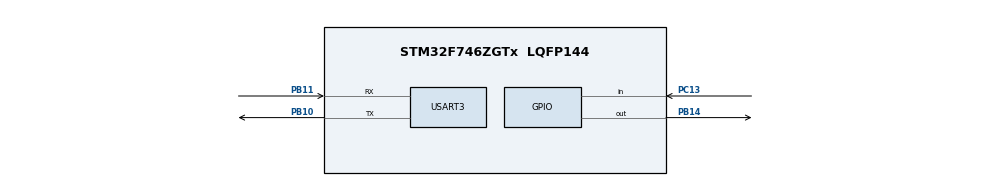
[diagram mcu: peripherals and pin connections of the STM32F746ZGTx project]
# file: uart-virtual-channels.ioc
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ADC1.Channel-0\#ChannelRegularConversion=ADC_CHANNEL_TEMPSENSOR
ADC1.NbrOfConversionFlag=1
ADC1.Rank-0\#ChannelRegularConversion=1
ADC1.SamplingTime-0\#ChannelRegularConversion=ADC_SAMPLETIME_3CYCLES
ADC1.master=1
CORTEX_M7.default_mode_Activation=1
Dma.Request0=USART3_RX
Dma.Request1=USART3_TX
Dma.USART3_RX.0.Direction=DMA_PERIPH_TO_MEMORY
Dma.USART3_RX.0.FIFOMode=DMA_FIFOMODE_DISABLE
Dma.USART3_RX.0.Instance=DMA1_Stream1
Dma.USART3_RX.0.MemDataAlignment=DMA_MDATAALIGN_BYTE
Dma.USART3_RX.0.MemInc=DMA_MINC_ENABLE
Dma.USART3_RX.0.Mode=DMA_CIRCULAR
Dma.USART3_RX.0.PeriphDataAlignment=DMA_PDATAALIGN_BYTE
Dma.USART3_RX.0.PeriphInc=DMA_PINC_DISABLE
Dma.USART3_RX.0.Priority=DMA_PRIORITY_LOW
Dma.USART3_TX.1.Direction=DMA_MEMORY_TO_PERIPH
Dma.USART3_TX.1.FIFOMode=DMA_FIFOMODE_DISABLE
Dma.USART3_TX.1.Instance=DMA1_Stream3
Dma.USART3_TX.1.MemDataAlignment=DMA_MDATAALIGN_BYTE
Dma.USART3_TX.1.MemInc=DMA_MINC_ENABLE
Dma.USART3_TX.1.Mode=DMA_NORMAL
Dma.USART3_TX.1.PeriphDataAlignment=DMA_PDATAALIGN_BYTE
Dma.USART3_TX.1.PeriphInc=DMA_PINC_DISABLE
Dma.USART3_TX.1.Priority=DMA_PRIORITY_LOW
Mcu.Family=STM32F7
Mcu.Name=STM32F746ZGTx
Mcu.Package=LQFP144
NVIC.DMA1_Stream1_IRQn=true\:0\:0\:false\:false\:true\:false\:true\:true
NVIC.DMA1_Stream3_IRQn=true\:0\:0\:false\:false\:true\:false\:true\:true
NVIC.PriorityGroup=NVIC_PRIORITYGROUP_4
NVIC.USART3_IRQn=true\:0\:0\:false\:false\:true\:true\:true\:true
PB10.Mode=Asynchronous
PB10.Signal=USART3_TX
PB11.Mode=Asynchronous
PB11.Signal=USART3_RX
PB14.Signal=GPIO_Output
PC13.Signal=GPIO_Input
ProjectManager.HeapSize=0x200
ProjectManager.StackSize=0x400
ProjectManager.TargetToolchain=STM32CubeIDE
RCC.HSE_VALUE=25000000
RCC.HSI_VALUE=16000000
RCC.LSE_VALUE=32768
RCC.USBFreq_Value=96000000
RCC.VCOOutputFreq_Value=192000000
USART3.VirtualMode-Asynchronous=VM_ASYNC
VP_ADC1_TempSens_Input.Mode=IN-TempSens
board=custom

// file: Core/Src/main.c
/* USER CODE BEGIN Header */
/**
  ******************************************************************************
  * @file           : main.c
  * @brief          : Main program body
  ******************************************************************************
  * @attention
  *
  * Copyright (c) 2026 STMicroelectronics.
  * All rights reserved.
  *
  * This software is licensed under terms that can be found in the LICENSE file
  * in the root directory of this software component.
  * If no LICENSE file comes with this software, it is provided AS-IS.
  *
  ******************************************************************************
  */
/* USER CODE END Header */
#include "main.h"

/* USER CODE BEGIN Includes */
#include <stdio.h>
#include <math.h>
#include <stdlib.h>

#include "uartvc_parser.h"
#include "uartvc_link.h"
#include "uartvc_scheduler.h"
/* USER CODE END Includes */

ADC_HandleTypeDef hadc1;

UART_HandleTypeDef huart3;
DMA_HandleTypeDef hdma_usart3_rx;
DMA_HandleTypeDef hdma_usart3_tx;

/* USER CODE BEGIN PV */
uartvc_parser_t mi_parser;
uint8_t rx_byte;

uint32_t elefante_bytes_restantes = 0;
uint8_t buffer_elefante[64];
uint32_t timer_elefante = 0;
/* USER CODE END PV */

void SystemClock_Config(void);
static void MPU_Config(void);
static void MX_GPIO_Init(void);
static void MX_DMA_Init(void);
static void MX_USART3_UART_Init(void);
static void MX_ADC1_Init(void);

/* USER CODE BEGIN 0 */
int _write(int file, char *ptr, int len)
{
	uartvc_enqueue_raw((uint8_t*)ptr, len);
	return len;
}

int __io_putchar(int ch)
{
    uartvc_enqueue_raw((uint8_t*)&ch, 1);
    return ch;
}

uint8_t rx_buffer[256];
uartvc_parser_t parser;

void data_callback(uint8_t ch, const uint8_t *payload, uint16_t len)
{
	// Aquí llega la información de otros dispositivos reensamblada por el Parser
}

void HAL_UARTEx_RxEventCallback(UART_HandleTypeDef *huart, uint16_t Size)
{
    if(huart == &huart3)
    {
        // Le pasamos todos los bytes recibidos de golpe al parser
        for(uint16_t i=0; i<Size; i++)
        {
            uartvc_parser_process_byte(&mi_parser, rx_buffer[i]);
        }

        // Volvemos a armar el DMA para que siga escuchando en segundo plano
        HAL_UARTEx_ReceiveToIdle_DMA(&huart3, rx_buffer, sizeof(rx_buffer));
    }
}
/* USER CODE END 0 */

int main(void)
{

  /* MPU Configuration--------------------------------------------------------*/
  MPU_Config();

  /* MCU Configuration--------------------------------------------------------*/

  /* Reset of all peripherals, Initializes the Flash interface and the Systick. */
  HAL_Init();

  /* Configure the system clock */
  SystemClock_Config();

  /* Initialize all configured peripherals */
  MX_GPIO_Init();
  MX_DMA_Init();
  MX_USART3_UART_Init();
  MX_ADC1_Init();
  /* USER CODE BEGIN 2 */
  uartvc_scheduler_init();
  uartvc_set_channel_burst(1, 1);
  uartvc_set_channel_burst(2, 3);
  uartvc_set_channel_burst(3, 4);
  uartvc_set_channel_burst(4, 1);

  uartvc_parser_init(&mi_parser, data_callback);

  HAL_UARTEx_ReceiveToIdle_DMA(&huart3, rx_buffer, sizeof(rx_buffer));

  /* USER CODE END 2 */

  /* Infinite loop */
  /* USER CODE BEGIN WHILE */

  printf("\r\n[STM32] SISTEMA DE TELEMETRIA INICIADO\r\n");

  while (1)
  {
	// Planificador de TX
	uartvc_scheduler_run();

	// Tick de mantenimiento del parser de RX
	uartvc_parser_tick(&mi_parser);

    /* USER CODE END WHILE */

  }
}

void SystemClock_Config(void)
{
  RCC_OscInitTypeDef RCC_OscInitStruct = {0};
  RCC_ClkInitTypeDef RCC_ClkInitStruct = {0};

  /** Configure the main internal regulator output voltage
  */
  __HAL_RCC_PWR_CLK_ENABLE();
  __HAL_PWR_VOLTAGESCALING_CONFIG(PWR_REGULATOR_VOLTAGE_SCALE3);

  /** Initializes the RCC Oscillators according to the specified parameters
  * in the RCC_OscInitTypeDef structure.
  */
  RCC_OscInitStruct.OscillatorType = RCC_OSCILLATORTYPE_HSI;
  RCC_OscInitStruct.HSIState = RCC_HSI_ON;
  RCC_OscInitStruct.HSICalibrationValue = RCC_HSICALIBRATION_DEFAULT;
  RCC_OscInitStruct.PLL.PLLState = RCC_PLL_NONE;
  if (HAL_RCC_OscConfig(&RCC_OscInitStruct) != HAL_OK)
  {
    Error_Handler();
  }

  /** Initializes the CPU, AHB and APB buses clocks
  */
  RCC_ClkInitStruct.ClockType = RCC_CLOCKTYPE_HCLK|RCC_CLOCKTYPE_SYSCLK
                              |RCC_CLOCKTYPE_PCLK1|RCC_CLOCKTYPE_PCLK2;
  RCC_ClkInitStruct.SYSCLKSource = RCC_SYSCLKSOURCE_HSI;
  RCC_ClkInitStruct.AHBCLKDivider = RCC_SYSCLK_DIV1;
  RCC_ClkInitStruct.APB1CLKDivider = RCC_HCLK_DIV1;
  RCC_ClkInitStruct.APB2CLKDivider = RCC_HCLK_DIV1;

  if (HAL_RCC_ClockConfig(&RCC_ClkInitStruct, FLASH_LATENCY_0) != HAL_OK)
  {
    Error_Handler();
  }
}

static void MX_ADC1_Init(void)
{

  ADC_ChannelConfTypeDef sConfig = {0};

  /** Configure the global features of the ADC (Clock, Resolution, Data Alignment and number of conversion)
  */
  hadc1.Instance = ADC1;
  hadc1.Init.ClockPrescaler = ADC_CLOCK_SYNC_PCLK_DIV2;
  hadc1.Init.Resolution = ADC_RESOLUTION_12B;
  hadc1.Init.ScanConvMode = ADC_SCAN_DISABLE;
  hadc1.Init.ContinuousConvMode = DISABLE;
  hadc1.Init.DiscontinuousConvMode = DISABLE;
  hadc1.Init.ExternalTrigConvEdge = ADC_EXTERNALTRIGCONVEDGE_NONE;
  hadc1.Init.ExternalTrigConv = ADC_SOFTWARE_START;
  hadc1.Init.DataAlign = ADC_DATAALIGN_RIGHT;
  hadc1.Init.NbrOfConversion = 1;
  hadc1.Init.DMAContinuousRequests = DISABLE;
  hadc1.Init.EOCSelection = ADC_EOC_SINGLE_CONV;
  if (HAL_ADC_Init(&hadc1) != HAL_OK)
  {
    Error_Handler();
  }

  /** Configure for the selected ADC regular channel its corresponding rank in the sequencer and its sample time.
  */
  sConfig.Channel = ADC_CHANNEL_TEMPSENSOR;
  sConfig.Rank = ADC_REGULAR_RANK_1;
  sConfig.SamplingTime = ADC_SAMPLETIME_3CYCLES;
  if (HAL_ADC_ConfigChannel(&hadc1, &sConfig) != HAL_OK)
  {
    Error_Handler();
  }

}

static void MX_USART3_UART_Init(void)
{

  huart3.Instance = USART3;
  huart3.Init.BaudRate = 115200;
  huart3.Init.WordLength = UART_WORDLENGTH_8B;
  huart3.Init.StopBits = UART_STOPBITS_1;
  huart3.Init.Parity = UART_PARITY_NONE;
  huart3.Init.Mode = UART_MODE_TX_RX;
  huart3.Init.HwFlowCtl = UART_HWCONTROL_NONE;
  huart3.Init.OverSampling = UART_OVERSAMPLING_16;
  huart3.Init.OneBitSampling = UART_ONE_BIT_SAMPLE_DISABLE;
  huart3.AdvancedInit.AdvFeatureInit = UART_ADVFEATURE_NO_INIT;
  if (HAL_UART_Init(&huart3) != HAL_OK)
  {
    Error_Handler();
  }

}

static void MX_DMA_Init(void)
{

  /* DMA controller clock enable */
  __HAL_RCC_DMA1_CLK_ENABLE();

  /* DMA interrupt init */
  /* DMA1_Stream1_IRQn interrupt configuration */
  HAL_NVIC_SetPriority(DMA1_Stream1_IRQn, 0, 0);
  HAL_NVIC_EnableIRQ(DMA1_Stream1_IRQn);
  /* DMA1_Stream3_IRQn interrupt configuration */
  HAL_NVIC_SetPriority(DMA1_Stream3_IRQn, 0, 0);
  HAL_NVIC_EnableIRQ(DMA1_Stream3_IRQn);

}

static void MX_GPIO_Init(void)
{
  GPIO_InitTypeDef GPIO_InitStruct = {0};

  /* GPIO Ports Clock Enable */
  __HAL_RCC_GPIOC_CLK_ENABLE();
  __HAL_RCC_GPIOB_CLK_ENABLE();

  /*Configure GPIO pin Output Level */
  HAL_GPIO_WritePin(GPIOB, GPIO_PIN_14, GPIO_PIN_RESET);

  /*Configure GPIO pin : PC13 */
  GPIO_InitStruct.Pin = GPIO_PIN_13;
  GPIO_InitStruct.Mode = GPIO_MODE_INPUT;
  GPIO_InitStruct.Pull = GPIO_NOPULL;
  HAL_GPIO_Init(GPIOC, &GPIO_InitStruct);

  /*Configure GPIO pin : PB14 */
  GPIO_InitStruct.Pin = GPIO_PIN_14;
  GPIO_InitStruct.Mode = GPIO_MODE_OUTPUT_PP;
  GPIO_InitStruct.Pull = GPIO_NOPULL;
  GPIO_InitStruct.Speed = GPIO_SPEED_FREQ_LOW;
  HAL_GPIO_Init(GPIOB, &GPIO_InitStruct);

}

/* USER CODE BEGIN 4 */
// Callback genérico que tú usas en la aplicación (opcional de momento)

/* USER CODE END 4 */

 /* MPU Configuration */

void MPU_Config(void)
{
  MPU_Region_InitTypeDef MPU_InitStruct = {0};

  /* Disables the MPU */
  HAL_MPU_Disable();

  /** Initializes and configures the Region and the memory to be protected
  */
  MPU_InitStruct.Enable = MPU_REGION_ENABLE;
  MPU_InitStruct.Number = MPU_REGION_NUMBER0;
  MPU_InitStruct.BaseAddress = 0x0;
  MPU_InitStruct.Size = MPU_REGION_SIZE_4GB;
  MPU_InitStruct.SubRegionDisable = 0x87;
  MPU_InitStruct.TypeExtField = MPU_TEX_LEVEL0;
  MPU_InitStruct.AccessPermission = MPU_REGION_NO_ACCESS;
  MPU_InitStruct.DisableExec = MPU_INSTRUCTION_ACCESS_DISABLE;
  MPU_InitStruct.IsShareable = MPU_ACCESS_SHAREABLE;
  MPU_InitStruct.IsCacheable = MPU_ACCESS_NOT_CACHEABLE;
  MPU_InitStruct.IsBufferable = MPU_ACCESS_NOT_BUFFERABLE;

  HAL_MPU_ConfigRegion(&MPU_InitStruct);
  /* Enables the MPU */
  HAL_MPU_Enable(MPU_PRIVILEGED_DEFAULT);

}

void Error_Handler(void)
{
  __disable_irq();
  while (1)
  {
  }
}
